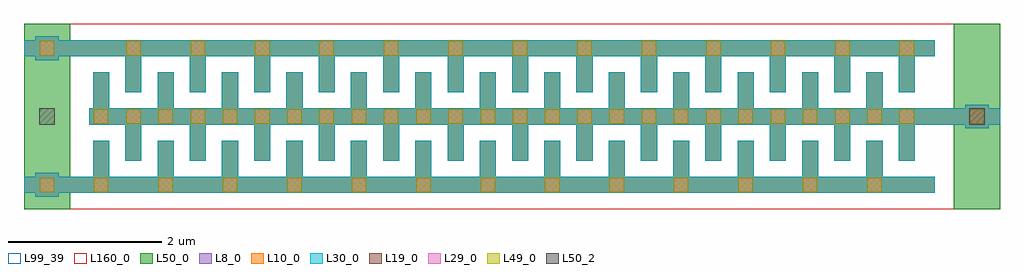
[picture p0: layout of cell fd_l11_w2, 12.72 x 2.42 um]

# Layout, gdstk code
import gdstk
lib = gdstk.Library(unit=1e-6, precision=1e-09)
def R(c, l, rs):  # rectangles x0, y0, x1, y1
    for r in rs: c.add(gdstk.rectangle(r[:2], r[2:], *l))
def A(c, l, x, y, w, h, nx, ny, dx, dy):  # array of equal rectangles
    R(c, l, [(x+i*dx, y+j*dy, x+i*dx+w, y+j*dy+h) for i in range(nx) for j in range(ny)])
L8_0 = (8, 0)
L10_0 = (10, 0)
L19_0 = (19, 0)
L29_0 = (29, 0)
L30_0 = (30, 0)
L49_0 = (49, 0)
L50_0 = (50, 0)
L50_2 = (50, 2)
L99_39 = (99, 39)
L160_0 = (160, 0)

fd_l11_w2 = lib.new_cell('fd_l11_w2')
A(fd_l11_w2, L8_0, 0, 0, 0.21, 0.575, 13, 2, 0.84, 0.89)
A(fd_l11_w2, L8_0, 0.42, 0.315, 0.21, 0.575, 13, 2, 0.84, 0.89)
R(fd_l11_w2, L8_0, [(-0.755,-0.155,-0.445,0.155), (-0.9,-0.105,10.97,0.105), (11.365,0.735,11.675,1.045), (-0.05,0.785,11.82,0.995), (-0.755,1.625,-0.445,1.935), (-0.9,1.675,10.97,1.885)])
A(fd_l11_w2, L10_0, 0, 0, 0.21, 0.575, 13, 2, 0.84, 0.89)
A(fd_l11_w2, L10_0, 0.42, 0.315, 0.21, 0.575, 13, 2, 0.84, 0.89)
R(fd_l11_w2, L10_0, [(-0.755,-0.155,-0.445,0.155), (-0.9,-0.105,10.97,0.105), (11.365,0.735,11.675,1.045), (-0.05,0.785,11.82,0.995), (-0.755,1.625,-0.445,1.935), (-0.9,1.675,10.97,1.885)])
A(fd_l11_w2, L19_0, 0.01, -0.095, 0.19, 0.19, 13, 1, 0.84, 0)
A(fd_l11_w2, L19_0, 0.01, 0.795, 0.19, 0.19, 26, 1, 0.42, 0)
A(fd_l11_w2, L19_0, 0.43, 1.685, 0.19, 0.19, 13, 1, 0.84, 0)
R(fd_l11_w2, L19_0, [(-0.695,-0.095,-0.505,0.095), (11.425,0.795,11.615,0.985), (-0.695,1.685,-0.505,1.875)])
A(fd_l11_w2, L29_0, 0.01, -0.095, 0.19, 0.19, 13, 1, 0.84, 0)
A(fd_l11_w2, L29_0, 0.01, 0.795, 0.19, 0.19, 26, 1, 0.42, 0)
A(fd_l11_w2, L29_0, 0.43, 1.685, 0.19, 0.19, 13, 1, 0.84, 0)
R(fd_l11_w2, L29_0, [(-0.695,-0.095,-0.505,0.095), (11.425,0.795,11.615,0.985), (-0.695,1.685,-0.505,1.875)])
A(fd_l11_w2, L30_0, 0, 0, 0.21, 0.575, 13, 2, 0.84, 0.89)
A(fd_l11_w2, L30_0, 0.42, 0.315, 0.21, 0.575, 13, 2, 0.84, 0.89)
R(fd_l11_w2, L30_0, [(-0.755,-0.155,-0.445,0.155), (-0.9,-0.105,10.97,0.105), (11.365,0.735,11.675,1.045), (-0.05,0.785,11.82,0.995), (-0.755,1.625,-0.445,1.935), (-0.9,1.675,10.97,1.885)])
A(fd_l11_w2, L49_0, 0.01, -0.095, 0.19, 0.19, 13, 1, 0.84, 0)
A(fd_l11_w2, L49_0, 0.01, 0.795, 0.19, 0.19, 26, 1, 0.42, 0)
A(fd_l11_w2, L49_0, 0.43, 1.685, 0.19, 0.19, 13, 1, 0.84, 0)
R(fd_l11_w2, L49_0, [(-0.695,-0.095,-0.505,0.095), (11.425,0.795,11.615,0.985), (-0.695,1.685,-0.505,1.875)])
A(fd_l11_w2, L50_0, 0, 0, 0.21, 0.575, 13, 2, 0.84, 0.89)
A(fd_l11_w2, L50_0, 0.42, 0.315, 0.21, 0.575, 13, 2, 0.84, 0.89)
R(fd_l11_w2, L50_0, [(-0.9,-0.32,-0.3,2.1), (11.22,-0.32,11.82,2.1), (-0.9,-0.105,10.97,0.105), (-0.05,0.785,11.82,0.995), (-0.9,1.675,10.97,1.885)])
R(fd_l11_w2, L50_2, [(-0.7,0.785,-0.5,0.995), (11.42,0.785,11.62,0.995)])
R(fd_l11_w2, L99_39, [(-0.9,-0.32,11.82,2.1)])
R(fd_l11_w2, L160_0, [(-0.9,-0.32,11.82,2.1)])
fd_l11_w2.add(gdstk.Label('cap_cmomi C=10.593fF', (-0.9,-0.82), layer=63, texttype=0))

lib.write_gds('fd_l11_w2.gds')
